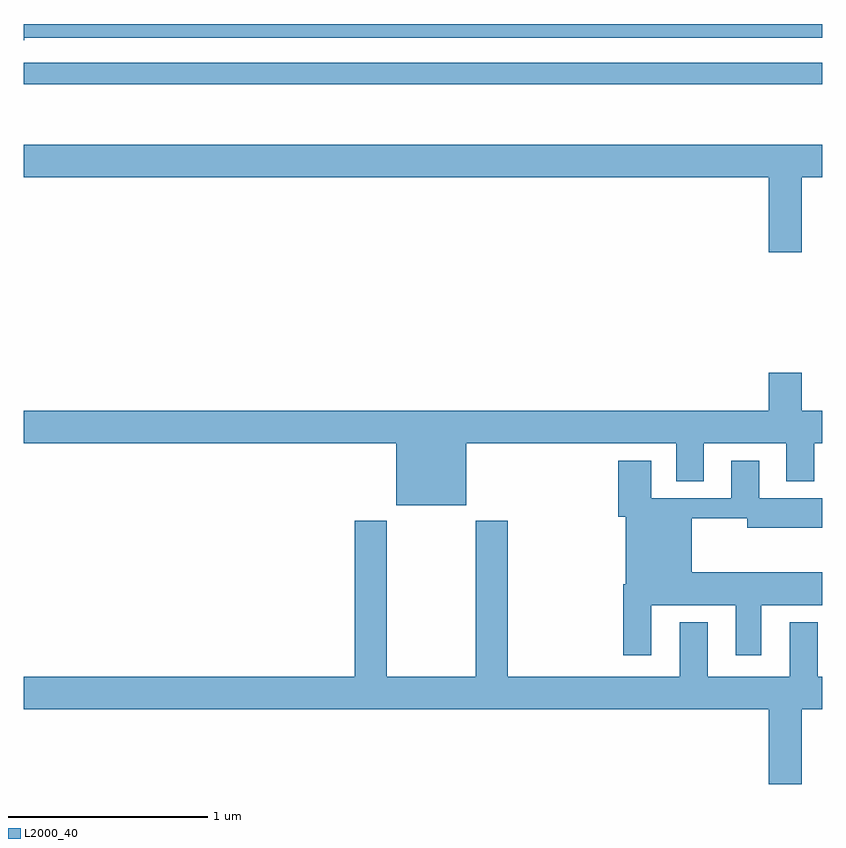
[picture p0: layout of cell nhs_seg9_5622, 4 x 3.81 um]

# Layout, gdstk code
import gdstk
lib = gdstk.Library(unit=1e-6, precision=1e-09)
def R(c, l, rs):  # rectangles x0, y0, x1, y1
    for r in rs: c.add(gdstk.rectangle(r[:2], r[2:], *l))
def P(c, l, *ps):  # polygons
    for p in ps: c.add(gdstk.Polygon(p, *l))
L2000_40 = (2000, 40)

nhs_seg9_5622 = lib.new_cell('nhs_seg9_5622')
R(nhs_seg9_5622, L2000_40, [(437,1218.198,441,1218.306)])
P(nhs_seg9_5622, L2000_40, [(437.004,1218.432),(441,1218.432),(441,1218.5),(437,1218.5),(437,1218.419),(437.004,1218.419)],
  [(440.896,1217.732),(441,1217.732),(441,1217.896),(437,1217.896),(437,1217.732),(440.732,1217.732),(440.732,1217.358),(440.896,1217.358)],
  [(439.216,1216.4),(440.267,1216.4),(440.267,1216.21),(440.407,1216.21),(440.407,1216.4),(440.819,1216.4),(440.819,1216.211),(440.959,1216.211),(440.959,1216.4),(441,1216.4),(441,1216.564),(440.896,1216.564),(440.896,1216.753),(440.732,1216.753),(440.732,1216.564),(437,1216.564),(437,1216.4),(438.866,1216.4),(438.866,1216.091),(439.216,1216.091)],
  [(440.143,1215.59),(440.567,1215.59),(440.567,1215.339),(440.695,1215.339),(440.695,1215.59),(441,1215.59),(441,1215.754),(440.347,1215.754),(440.347,1216.024),(440.624,1216.024),(440.624,1215.977),(441,1215.977),(441,1216.125),(440.889,1216.125),(440.889,1216.126),(440.683,1216.126),(440.683,1216.312),(440.543,1216.312),(440.543,1216.125),(440.143,1216.125),(440.143,1216.312),(439.979,1216.312),(439.979,1216.032),(440.015,1216.032),(440.015,1215.694),(440.003,1215.694),(440.003,1215.339),(440.143,1215.339)],
  [(440.896,1215.068),(441,1215.068),(441,1215.232),(440.977,1215.232),(440.977,1215.505),(440.837,1215.505),(440.837,1215.232),(440.425,1215.232),(440.425,1215.505),(440.285,1215.505),(440.285,1215.232),(439.424,1215.232),(439.424,1216.012),(439.264,1216.012),(439.264,1215.232),(438.819,1215.232),(438.819,1216.012),(438.659,1216.012),(438.659,1215.232),(437,1215.232),(437,1215.068),(440.732,1215.068),(440.732,1214.694),(440.896,1214.694)])

lib.write_gds('nhs_seg9_5622.gds')
